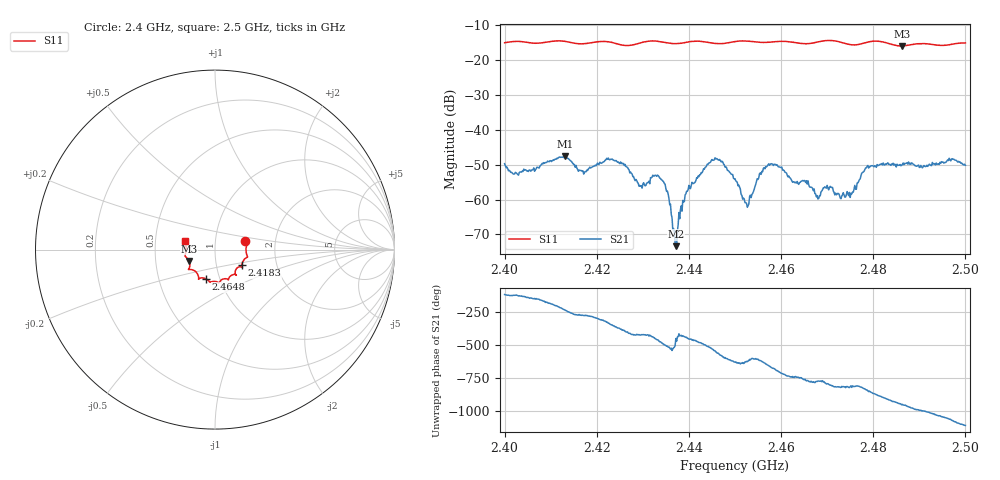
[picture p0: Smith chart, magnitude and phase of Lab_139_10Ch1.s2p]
# Hz S RI R 50
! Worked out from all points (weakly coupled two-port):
!   601 points, 2.4 GHz to 2.5 GHz, reference 50 ohm
!   highest |S21| = -47.68 dB at 2.4132 GHz (marker M1); lowest = -73.3 dB at 2.4372 GHz (marker M2)
!   lowest |S11| = -16.1 dB at 2.4862 GHz (marker M3), VSWR 1.37, Z = 37.1 - j4.82 ohm
!   |S11| at or under -10 dB: start of sweep to end of sweep
!   S12 and S22 are empty: the file has one direction only
!   S11 on the Smith chart (normalised r, x): 2.4 GHz: 1.40, +0.13; 2.4183 GHz: 1.33, -0.24; 2.4648 GHz: 0.86, -0.29; 2.5 GHz: 0.71, +0.07
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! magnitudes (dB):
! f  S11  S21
! 2.4 GHz  -15.1  -49.7
! 2.4025 GHz  -14.7  -52.4
! 2.4132 GHz  -14.7  -47.7
! 2.4167 GHz  -15.4  -51.7
! 2.4183 GHz  -15.2  -51.0
! 2.4227 GHz  -14.9  -48.5
! 2.4293 GHz  -15.2  -56.0
! 2.4333 GHz  -14.7  -53.1
! 2.4352 GHz  -15.1  -57.7
! 2.4372 GHz  -15.4  -73.3
! 2.4397 GHz  -15.0  -57.6
! 2.4445 GHz  -15.1  -49.4
! 2.45 GHz  -14.8  -54.1
! 2.4525 GHz  -14.6  -61.1
! 2.4575 GHz  -15.0  -50.2
! 2.4648 GHz  -15.4  -54.7
! 2.4667 GHz  -15.3  -56.5
! 2.4752 GHz  -15.7  -58.2
! 2.4787 GHz  -15.0  -50.5
! 2.4833 GHz  -15.3  -49.9
! 2.4862 GHz  -16.1  -50.2
! 2.5 GHz  -15.2  -50.2
